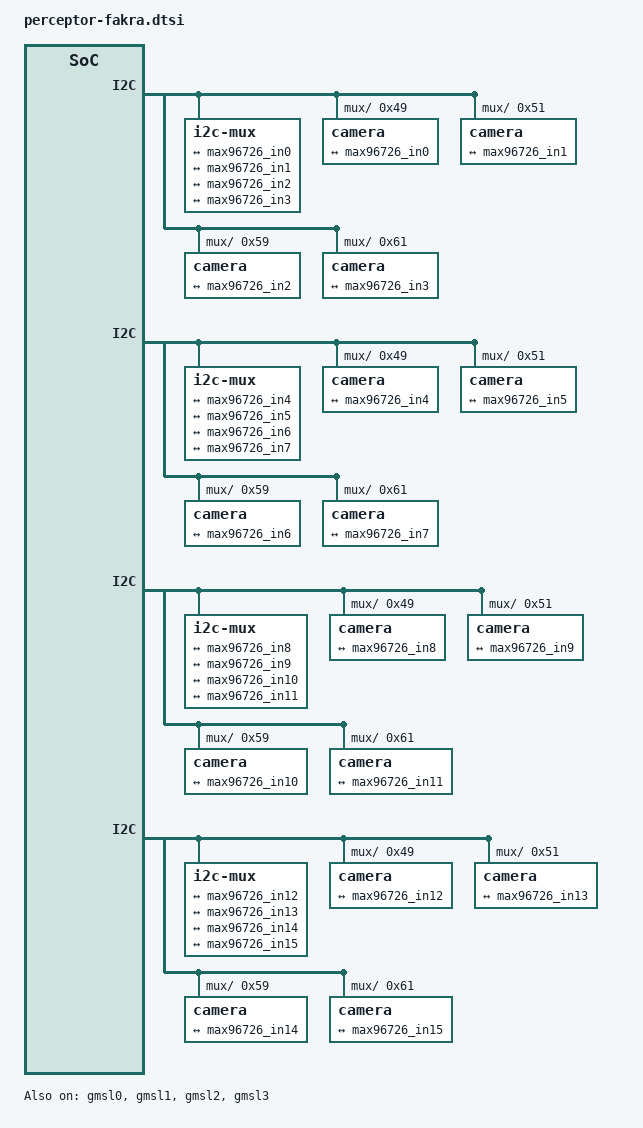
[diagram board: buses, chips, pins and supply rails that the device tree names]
// SPDX-License-Identifier: GPL-2.0+
/*
 * Device Tree Source (overlay) for the Perceptor X5H FAKRA connectors
 *
 * Copyright (C) 2026 Renesas Electronics Corp.
 *
 * This overlay allows you to define cameras connected to the FAKRA
 * connectors on the PERCEPTOR (or compatible) board.
 *
 * Select each camera model by setting PERCEPTOR_CAMERA<n> to AR0820, IMX728,
 * or IMX623. Comment out a define to disconnect that camera from the DTB.
 *
 * "onnn,ar0820", "sony,imx728", and "sony,imx623" have a devicetree binding
 * under Documentation/devicetree/bindings/media/i2c/ for schema validation,
 * but their v4l2 subdev driver is maintained out-of-tree (the "gmsl_serdes"
 * project) and is not part of this kernel tree.
 */

#include <dt-bindings/gpio/gpio.h>

/* Model selectors also choose the remote sensor address. */
#define PERCEPTOR_SENSOR_COMPATIBLE_AR0820	"onnn,ar0820"
#define PERCEPTOR_SENSOR_COMPATIBLE_IMX728	"sony,imx728"
#define PERCEPTOR_SENSOR_COMPATIBLE_IMX623	"sony,imx623"

#define PERCEPTOR_SENSOR_I2C_ADDR_AR0820		0x10
#define PERCEPTOR_SENSOR_I2C_ADDR_IMX728		0x1a
#define PERCEPTOR_SENSOR_I2C_ADDR_IMX623		0x1a

#define PERCEPTOR_SENSOR_COMPATIBLE_EXPAND(model) \
	PERCEPTOR_SENSOR_COMPATIBLE_##model
#define PERCEPTOR_SENSOR_COMPATIBLE(model) \
	PERCEPTOR_SENSOR_COMPATIBLE_EXPAND(model)
#define PERCEPTOR_SENSOR_I2C_ADDR_EXPAND(model) \
	PERCEPTOR_SENSOR_I2C_ADDR_##model
#define PERCEPTOR_SENSOR_I2C_ADDR(model) \
	PERCEPTOR_SENSOR_I2C_ADDR_EXPAND(model)

#define PERCEPTOR_CAMERA0  IMX728
#define PERCEPTOR_CAMERA1  IMX728
#define PERCEPTOR_CAMERA2  IMX728
#define PERCEPTOR_CAMERA3  IMX728
#define PERCEPTOR_CAMERA4  IMX728
#define PERCEPTOR_CAMERA5  IMX728
#define PERCEPTOR_CAMERA6  IMX728
#define PERCEPTOR_CAMERA7  IMX728
#define PERCEPTOR_CAMERA8  IMX728
#define PERCEPTOR_CAMERA9  IMX728
#define PERCEPTOR_CAMERA10 IMX728
#define PERCEPTOR_CAMERA11 IMX728
#define PERCEPTOR_CAMERA12 IMX728
#define PERCEPTOR_CAMERA13 IMX728
#define PERCEPTOR_CAMERA14 IMX728
#define PERCEPTOR_CAMERA15 IMX728

/* Define the endpoint links */
#ifdef PERCEPTOR_CAMERA0
&max96726_in0 {
	remote-endpoint = <&fakra_con0>;
};
#endif

#ifdef PERCEPTOR_CAMERA1
&max96726_in1 {
	remote-endpoint = <&fakra_con1>;
};
#endif

#ifdef PERCEPTOR_CAMERA2
&max96726_in2 {
	remote-endpoint = <&fakra_con2>;
};
#endif

#ifdef PERCEPTOR_CAMERA3
&max96726_in3 {
	remote-endpoint = <&fakra_con3>;
};
#endif

#ifdef PERCEPTOR_CAMERA4
&max96726_in4 {
	remote-endpoint = <&fakra_con4>;
};
#endif

#ifdef PERCEPTOR_CAMERA5
&max96726_in5 {
	remote-endpoint = <&fakra_con5>;
};
#endif

#ifdef PERCEPTOR_CAMERA6
&max96726_in6 {
	remote-endpoint = <&fakra_con6>;
};
#endif

#ifdef PERCEPTOR_CAMERA7
&max96726_in7 {
	remote-endpoint = <&fakra_con7>;
};
#endif

#ifdef PERCEPTOR_CAMERA8
&max96726_in8 {
	remote-endpoint = <&fakra_con8>;
};
#endif

#ifdef PERCEPTOR_CAMERA9
&max96726_in9 {
	remote-endpoint = <&fakra_con9>;
};
#endif

#ifdef PERCEPTOR_CAMERA10
&max96726_in10 {
	remote-endpoint = <&fakra_con10>;
};
#endif

#ifdef PERCEPTOR_CAMERA11
&max96726_in11 {
	remote-endpoint = <&fakra_con11>;
};
#endif

#ifdef PERCEPTOR_CAMERA12
&max96726_in12 {
	remote-endpoint = <&fakra_con12>;
};
#endif

#ifdef PERCEPTOR_CAMERA13
&max96726_in13 {
	remote-endpoint = <&fakra_con13>;
};
#endif

#ifdef PERCEPTOR_CAMERA14
&max96726_in14 {
	remote-endpoint = <&fakra_con14>;
};
#endif

#ifdef PERCEPTOR_CAMERA15
&max96726_in15 {
	remote-endpoint = <&fakra_con15>;
};
#endif

/*
 * Camera reg values are Linux-side aliases. The remote sensor's native
 * 7-bit I2C address is configured separately on each camera node.
 */
&gmsl0 {

#if defined(PERCEPTOR_CAMERA0) || defined(PERCEPTOR_CAMERA1) || \
	defined(PERCEPTOR_CAMERA2) || defined(PERCEPTOR_CAMERA3)
	status = "okay";

#endif

	i2c-mux {
#ifdef PERCEPTOR_CAMERA0
		i2c@0 {
			status = "okay";

			camera@49 {
				compatible =
					PERCEPTOR_SENSOR_COMPATIBLE(PERCEPTOR_CAMERA0);
				reg = <0x49>;
				maxim,sensor-remote-i2c-addr =
					<PERCEPTOR_SENSOR_I2C_ADDR(PERCEPTOR_CAMERA0)>;

				port {
					fakra_con0: endpoint {
						remote-endpoint = <&max96726_in0>;
					};
				};
			};
		};
#endif

#ifdef PERCEPTOR_CAMERA1
		i2c@1 {
			status = "okay";

			camera@51 {
				compatible =
					PERCEPTOR_SENSOR_COMPATIBLE(PERCEPTOR_CAMERA1);
				reg = <0x51>;
				maxim,sensor-remote-i2c-addr =
					<PERCEPTOR_SENSOR_I2C_ADDR(PERCEPTOR_CAMERA1)>;

				port {
					fakra_con1: endpoint {
						remote-endpoint = <&max96726_in1>;
					};
				};
			};
		};
#endif

#ifdef PERCEPTOR_CAMERA2
		i2c@2 {
			status = "okay";

			camera@59 {
				compatible =
					PERCEPTOR_SENSOR_COMPATIBLE(PERCEPTOR_CAMERA2);
				reg = <0x59>;
				maxim,sensor-remote-i2c-addr =
					<PERCEPTOR_SENSOR_I2C_ADDR(PERCEPTOR_CAMERA2)>;

				port {
					fakra_con2: endpoint {
						remote-endpoint = <&max96726_in2>;
					};
				};
			};
		};
#endif

#ifdef PERCEPTOR_CAMERA3
		i2c@3 {
			status = "okay";

			camera@61 {
				compatible =
					PERCEPTOR_SENSOR_COMPATIBLE(PERCEPTOR_CAMERA3);
				reg = <0x61>;
				maxim,sensor-remote-i2c-addr =
					<PERCEPTOR_SENSOR_I2C_ADDR(PERCEPTOR_CAMERA3)>;

				port {
					fakra_con3: endpoint {
						remote-endpoint = <&max96726_in3>;
					};
				};
			};
		};
#endif
	};
};

&gmsl1 {

#if defined(PERCEPTOR_CAMERA4) || defined(PERCEPTOR_CAMERA5) || \
	defined(PERCEPTOR_CAMERA6) || defined(PERCEPTOR_CAMERA7)
	status = "okay";

#endif

	i2c-mux {
#ifdef PERCEPTOR_CAMERA4
		i2c@0 {
			status = "okay";

			camera@49 {
				compatible =
					PERCEPTOR_SENSOR_COMPATIBLE(PERCEPTOR_CAMERA4);
				reg = <0x49>;
				maxim,sensor-remote-i2c-addr =
					<PERCEPTOR_SENSOR_I2C_ADDR(PERCEPTOR_CAMERA4)>;

				port {
					fakra_con4: endpoint {
						remote-endpoint = <&max96726_in4>;
					};
				};
			};
		};
#endif

#ifdef PERCEPTOR_CAMERA5
		i2c@1 {
			status = "okay";

			camera@51 {
				compatible =
					PERCEPTOR_SENSOR_COMPATIBLE(PERCEPTOR_CAMERA5);
				reg = <0x51>;
				maxim,sensor-remote-i2c-addr =
					<PERCEPTOR_SENSOR_I2C_ADDR(PERCEPTOR_CAMERA5)>;

				port {
					fakra_con5: endpoint {
						remote-endpoint = <&max96726_in5>;
					};
				};
			};
		};
#endif

#ifdef PERCEPTOR_CAMERA6
		i2c@2 {
			status = "okay";

			camera@59 {
				compatible =
					PERCEPTOR_SENSOR_COMPATIBLE(PERCEPTOR_CAMERA6);
				reg = <0x59>;
				maxim,sensor-remote-i2c-addr =
					<PERCEPTOR_SENSOR_I2C_ADDR(PERCEPTOR_CAMERA6)>;

				port {
					fakra_con6: endpoint {
						remote-endpoint = <&max96726_in6>;
					};
				};
			};
		};
#endif

#ifdef PERCEPTOR_CAMERA7
		i2c@3 {
			status = "okay";

			camera@61 {
				compatible =
					PERCEPTOR_SENSOR_COMPATIBLE(PERCEPTOR_CAMERA7);
				reg = <0x61>;
				maxim,sensor-remote-i2c-addr =
					<PERCEPTOR_SENSOR_I2C_ADDR(PERCEPTOR_CAMERA7)>;

				port {
					fakra_con7: endpoint {
						remote-endpoint = <&max96726_in7>;
					};
				};
			};
		};
#endif
	};
};

&gmsl2 {

#if defined(PERCEPTOR_CAMERA8) || defined(PERCEPTOR_CAMERA9) || \
	defined(PERCEPTOR_CAMERA10) || defined(PERCEPTOR_CAMERA11)
	status = "okay";

#endif

	i2c-mux {
#ifdef PERCEPTOR_CAMERA8
		i2c@0 {
			status = "okay";

			camera@49 {
				compatible =
					PERCEPTOR_SENSOR_COMPATIBLE(PERCEPTOR_CAMERA8);
				reg = <0x49>;
				maxim,sensor-remote-i2c-addr =
					<PERCEPTOR_SENSOR_I2C_ADDR(PERCEPTOR_CAMERA8)>;

				port {
					fakra_con8: endpoint {
						remote-endpoint = <&max96726_in8>;
					};
				};
			};
		};
#endif

#ifdef PERCEPTOR_CAMERA9
		i2c@1 {
			status = "okay";

			camera@51 {
				compatible =
					PERCEPTOR_SENSOR_COMPATIBLE(PERCEPTOR_CAMERA9);
				reg = <0x51>;
				maxim,sensor-remote-i2c-addr =
					<PERCEPTOR_SENSOR_I2C_ADDR(PERCEPTOR_CAMERA9)>;

				port {
					fakra_con9: endpoint {
						remote-endpoint = <&max96726_in9>;
					};
				};
			};
		};
#endif

#ifdef PERCEPTOR_CAMERA10
		i2c@2 {
			status = "okay";

			camera@59 {
				compatible =
					PERCEPTOR_SENSOR_COMPATIBLE(PERCEPTOR_CAMERA10);
				reg = <0x59>;
				maxim,sensor-remote-i2c-addr =
					<PERCEPTOR_SENSOR_I2C_ADDR(PERCEPTOR_CAMERA10)>;

				port {
					fakra_con10: endpoint {
						remote-endpoint = <&max96726_in10>;
					};
				};
			};
		};
#endif

#ifdef PERCEPTOR_CAMERA11
		i2c@3 {
			status = "okay";

			camera@61 {
				compatible =
					PERCEPTOR_SENSOR_COMPATIBLE(PERCEPTOR_CAMERA11);
				reg = <0x61>;
				maxim,sensor-remote-i2c-addr =
					<PERCEPTOR_SENSOR_I2C_ADDR(PERCEPTOR_CAMERA11)>;

				port {
					fakra_con11: endpoint {
						remote-endpoint = <&max96726_in11>;
					};
				};
			};
		};
#endif
	};
};

&gmsl3 {

#if defined(PERCEPTOR_CAMERA12) || defined(PERCEPTOR_CAMERA13) || \
	defined(PERCEPTOR_CAMERA14) || defined(PERCEPTOR_CAMERA15)
	status = "okay";

#endif

	i2c-mux {
#ifdef PERCEPTOR_CAMERA12
		i2c@0 {
			status = "okay";

			camera@49 {
				compatible =
					PERCEPTOR_SENSOR_COMPATIBLE(PERCEPTOR_CAMERA12);
				reg = <0x49>;
				maxim,sensor-remote-i2c-addr =
					<PERCEPTOR_SENSOR_I2C_ADDR(PERCEPTOR_CAMERA12)>;

				port {
					fakra_con12: endpoint {
						remote-endpoint = <&max96726_in12>;
					};
				};
			};
		};
#endif

#ifdef PERCEPTOR_CAMERA13
		i2c@1 {
			status = "okay";

			camera@51 {
				compatible =
					PERCEPTOR_SENSOR_COMPATIBLE(PERCEPTOR_CAMERA13);
				reg = <0x51>;
				maxim,sensor-remote-i2c-addr =
					<PERCEPTOR_SENSOR_I2C_ADDR(PERCEPTOR_CAMERA13)>;

				port {
					fakra_con13: endpoint {
						remote-endpoint = <&max96726_in13>;
					};
				};
			};
		};
#endif

#ifdef PERCEPTOR_CAMERA14
		i2c@2 {
			status = "okay";

			camera@59 {
				compatible =
					PERCEPTOR_SENSOR_COMPATIBLE(PERCEPTOR_CAMERA14);
				reg = <0x59>;
				maxim,sensor-remote-i2c-addr =
					<PERCEPTOR_SENSOR_I2C_ADDR(PERCEPTOR_CAMERA14)>;

				port {
					fakra_con14: endpoint {
						remote-endpoint = <&max96726_in14>;
					};
				};
			};
		};
#endif

#ifdef PERCEPTOR_CAMERA15
		i2c@3 {
			status = "okay";

			camera@61 {
				compatible =
					PERCEPTOR_SENSOR_COMPATIBLE(PERCEPTOR_CAMERA15);
				reg = <0x61>;
				maxim,sensor-remote-i2c-addr =
					<PERCEPTOR_SENSOR_I2C_ADDR(PERCEPTOR_CAMERA15)>;

				port {
					fakra_con15: endpoint {
						remote-endpoint = <&max96726_in15>;
					};
				};
			};
		};
#endif
	};
};
